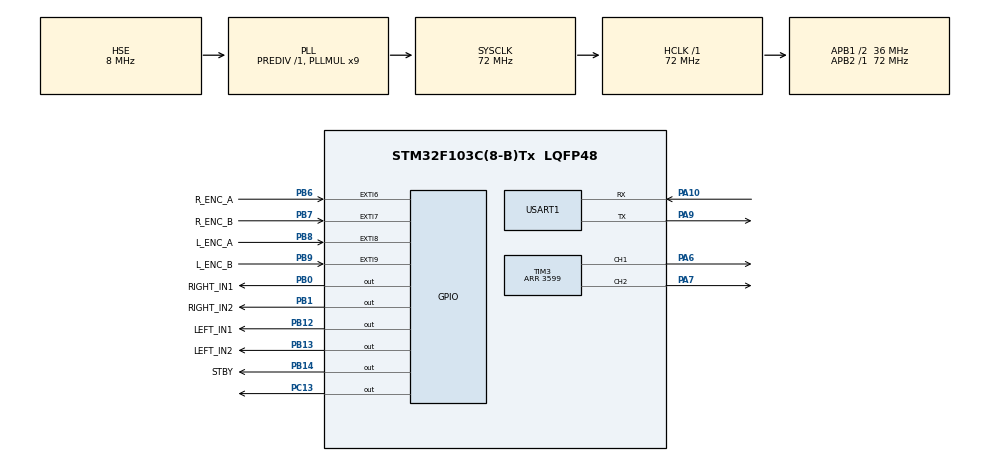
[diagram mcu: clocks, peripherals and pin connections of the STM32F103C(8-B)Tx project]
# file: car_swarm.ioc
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Mcu.Family=STM32F1
Mcu.Name=STM32F103C(8-B)Tx
Mcu.Package=LQFP48
NVIC.EXTI9_5_IRQn=true\:0\:0\:true\:false\:true\:true\:true\:true
NVIC.PriorityGroup=NVIC_PRIORITYGROUP_4
NVIC.TIM2_IRQn=true\:2\:0\:true\:false\:true\:true\:true\:true
NVIC.USART1_IRQn=true\:1\:0\:true\:false\:true\:true\:true\:true
PA10.Mode=Asynchronous
PA10.Signal=USART1_RX
PA13.Mode=Serial_Wire
PA13.Signal=SYS_JTMS-SWDIO
PA14.Mode=Serial_Wire
PA14.Signal=SYS_JTCK-SWCLK
PA6.Signal=S_TIM3_CH1
PA7.Signal=S_TIM3_CH2
PA9.Mode=Asynchronous
PA9.Signal=USART1_TX
PB0.GPIO_Label=RIGHT_IN1
PB0.Signal=GPIO_Output
PB1.GPIO_Label=RIGHT_IN2
PB1.Signal=GPIO_Output
PB12.GPIO_Label=LEFT_IN1
PB12.Signal=GPIO_Output
PB13.GPIO_Label=LEFT_IN2
PB13.Signal=GPIO_Output
PB14.GPIO_Label=STBY
PB14.Signal=GPIO_Output
PB6.GPIO_Label=R_ENC_A
PB6.GPIO_ModeDefaultEXTI=GPIO_MODE_IT_RISING_FALLING
PB6.GPIO_PuPd=GPIO_PULLUP
PB6.Signal=GPXTI6
PB7.GPIO_Label=R_ENC_B
PB7.GPIO_ModeDefaultEXTI=GPIO_MODE_IT_RISING_FALLING
PB7.GPIO_PuPd=GPIO_PULLUP
PB7.Signal=GPXTI7
PB8.GPIO_Label=L_ENC_A
PB8.GPIO_ModeDefaultEXTI=GPIO_MODE_IT_RISING_FALLING
PB8.GPIO_PuPd=GPIO_PULLUP
PB8.Signal=GPXTI8
PB9.GPIO_Label=L_ENC_B
PB9.GPIO_ModeDefaultEXTI=GPIO_MODE_IT_RISING_FALLING
PB9.GPIO_PuPd=GPIO_PULLUP
PB9.Signal=GPXTI9
PC13-TAMPER-RTC.Signal=GPIO_Output
PD0-OSC_IN.Mode=HSE-External-Oscillator
PD0-OSC_IN.Signal=RCC_OSC_IN
PD1-OSC_OUT.Mode=HSE-External-Oscillator
PD1-OSC_OUT.Signal=RCC_OSC_OUT
ProjectManager.HeapSize=0x200
ProjectManager.StackSize=0x400
ProjectManager.TargetToolchain=Makefile
RCC.AHBFreq_Value=72000000
RCC.APB1CLKDivider=RCC_HCLK_DIV2
RCC.APB1Freq_Value=36000000
RCC.APB1TimFreq_Value=72000000
RCC.APB2Freq_Value=72000000
RCC.APB2TimFreq_Value=72000000
RCC.HCLKFreq_Value=72000000
RCC.PLLMUL=RCC_PLL_MUL9
RCC.PLLSourceVirtual=RCC_PLLSOURCE_HSE
RCC.SYSCLKFreq_VALUE=72000000
RCC.SYSCLKSource=RCC_SYSCLKSOURCE_PLLCLK
RCC.USBFreq_Value=72000000
SH.S_TIM3_CH1.0=TIM3_CH1,PWM Generation1 CH1
SH.S_TIM3_CH2.0=TIM3_CH2,PWM Generation2 CH2
TIM2.AutoReloadPreload=TIM_AUTORELOAD_PRELOAD_ENABLE
TIM2.Period=99
TIM2.Prescaler=7199
TIM3.AutoReloadPreload=TIM_AUTORELOAD_PRELOAD_ENABLE
TIM3.Channel-PWM\ Generation1\ CH1=TIM_CHANNEL_1
TIM3.Channel-PWM\ Generation2\ CH2=TIM_CHANNEL_2
TIM3.Period=3599
USART1.VirtualMode=VM_ASYNC
VP_TIM2_VS_ClockSourceINT.Mode=Internal
VP_TIM3_VS_ClockSourceINT.Mode=Internal
board=custom

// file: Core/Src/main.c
/* USER CODE BEGIN Header */
/**
  ******************************************************************************
  * @file           : main.c
  * @brief          : Main program body
  ******************************************************************************
  * @attention
  *
  * Copyright (c) 2026 STMicroelectronics.
  * All rights reserved.
  *
  * This software is licensed under terms that can be found in the LICENSE file
  * in the root directory of this software component.
  * If no LICENSE file comes with this software, it is provided AS-IS.
  *
  ******************************************************************************
  */
/* USER CODE END Header */
#include "main.h"
#include "tim.h"
#include "usart.h"
#include "gpio.h"

/* USER CODE BEGIN PD */

#define PWM_MAX 1800            /* PWM上限提高至50%，TIM3周期仍为3599。 */
#define RPM_MAX 120             /* 最大目标转速，单位RPM。 */
#define L_REV 1
#define R_REV 1
#define L_ENC_SIGN 1            /* 手转车轮向前，enc[0]应增加；否则改为-1。 */
#define R_ENC_SIGN -1           /* 右轮前进时计数取正。 */
#ifndef ENC_CPR
#define ENC_CPR 1468.2f         /* 每圈A/B四倍频计数，已与手转复测核对。 */
#endif
#define KP 20.0f                /* P由10提高到20，增强前进和差速转向响应。 */
#define KP_TURN 120.0f           /* 两轮目标反向时提高P，增强原地转向起动能力。 */
#define TURN_FILTER 0.5f        /* 原地转向测速低通，减小单脉冲量化引起的抖动。 */
#define KD 0.02f

#if PWM_MAX < 1 || PWM_MAX > 3599 || RPM_MAX < 1 || RPM_MAX > 3276
#error "Invalid motor limits"
#endif
/* USER CODE END PD */

/* USER CODE BEGIN PV */

static volatile int16_t left, right; /* 目标值单位0.1 RPM，不是PWM。 */
static uint8_t rx, frame[8], n;
static uint8_t tx[17] = {0xAA, 0x66}; /* 时间、左计数、右计数、和校验、帧尾。 */
static uint32_t sent;
static volatile uint32_t err;
static volatile int32_t enc[2];       /* 累计四倍频计数，供闭环和串口反馈使用。 */
static volatile float measured[2];    /* 实测RPM，可在调试器查看。 */
static volatile int16_t pwm[2];
static uint8_t state[2];
static float old_rpm[2];             /* 上一次实测转速，仅用于D项。 */
static float turn_rpm[2];            /* 编码器实测转速的低通值，仅供原地转向使用。 */
/* USER CODE END PV */

void SystemClock_Config(void);
/* USER CODE BEGIN PFP */

static int16_t Limit(int16_t p);
static void Motor(GPIO_TypeDef *port, uint16_t a, uint16_t b, uint32_t ch, int16_t p);
static void Run(void);
static void Output(int16_t l, int16_t r);
static uint8_t Phase(uint8_t i);
static void Control(void);
/* USER CODE END PFP */

/* USER CODE BEGIN 0 */

/* HEX：AA 55 左高 左低 右高 右低 0D 0A，115200/8N1。
 * 两个有符号16位大端数，单位0.1 RPM；例如300表示30.0 RPM。
 * 每20ms回传17字节：AA 66 时间ms(4) 左计数(4) 右计数(4) 和校验 0D 0A。
 * 三个32位数均为大端，计数有符号；校验为前14字节之和的低8位。
 */
static int16_t Limit(int16_t p)
{
  if (p > RPM_MAX * 10) return RPM_MAX * 10;
  if (p < -RPM_MAX * 10) return -RPM_MAX * 10;
  return p;
}

/* 按实测接线：左轮A/B为PB8/PB9，右轮为PB6/PB7。 */
static uint8_t Phase(uint8_t i)
{
  uint32_t bits = GPIOB->IDR;
  uint16_t a = i ? R_ENC_A_Pin : L_ENC_A_Pin;
  uint16_t b = i ? R_ENC_B_Pin : L_ENC_B_Pin;
  return ((bits & a) ? 2 : 0) | ((bits & b) ? 1 : 0);
}

static void Motor(GPIO_TypeDef *port, uint16_t a, uint16_t b, uint32_t ch, int16_t p)
{
  HAL_GPIO_WritePin(port, a, p > 0 ? GPIO_PIN_SET : GPIO_PIN_RESET);
  HAL_GPIO_WritePin(port, b, p < 0 ? GPIO_PIN_SET : GPIO_PIN_RESET);
  __HAL_TIM_SET_COMPARE(&htim3, ch, p < 0 ? -p : p);
}

static void Output(int16_t l, int16_t r)
{
  Motor(RIGHT_IN1_GPIO_Port, RIGHT_IN1_Pin, RIGHT_IN2_Pin,
        TIM_CHANNEL_1, L_REV ? -l : l);
  Motor(LEFT_IN1_GPIO_Port, LEFT_IN1_Pin, LEFT_IN2_Pin,
        TIM_CHANNEL_2, R_REV ? -r : r);
}

/* TIM2固定100Hz调用。PD闭环留在下位机，上位机只给RPM目标。 */
static void Control(void)
{
  static int32_t previous[2];
  int32_t count[2];
  int16_t target[2];
  uint32_t key = __get_PRIMASK();
  __disable_irq();
  count[0] = enc[0]; count[1] = enc[1];
  target[0] = left; target[1] = right;
  __set_PRIMASK(key);

  /* 只识别两轮反向的原地转向；同向行驶继续使用普通P。 */
  uint8_t turn = (int32_t)target[0] * target[1] < 0;
  float kp = turn ? KP_TURN : KP;

  for (uint8_t i = 0; i < 2; i++)
  {
    int32_t delta = (int32_t)((uint32_t)count[i] - (uint32_t)previous[i]);
    previous[i] = count[i];
    if (ENC_CPR <= 0.0f)          /* 未标定时可手转计数，电机保持关闭。 */
    {
      measured[i] = old_rpm[i] = turn_rpm[i] = 0;
      pwm[i] = 0;
      continue;
    }
    measured[i] = delta * 6000.0f / ENC_CPR;
    float change = (measured[i] - old_rpm[i]) * 100.0f;
    old_rpm[i] = measured[i];
    float step = TURN_FILTER * (measured[i] - turn_rpm[i]);
    turn_rpm[i] += step;
    if (target[i] == 0)
    {
      pwm[i] = 0;
      continue;
    }
    float rpm = target[i] * 0.1f;
    /* D项对实测速度求导，避免目标变化时产生微分冲击；没有积分项。 */
    float speed = turn ? turn_rpm[i] : measured[i];
    float output = kp * (rpm - speed) - KD * (turn ? step * 100.0f : change);
    if (output > PWM_MAX) output = PWM_MAX;
    if (output < -PWM_MAX) output = -PWM_MAX;
    pwm[i] = (int16_t)output;
  }
  Output(pwm[0], pwm[1]);
}

/* 将32位数按大端顺序写入反馈包。 */
static void Put(uint8_t *p, uint32_t value)
{
  for (uint8_t i = 0; i < 4; i++) p[i] = value >> (24 - i * 8);
}

/* 只负责反馈；电机输出统一由TIM2更新，避免两个地方交替写PWM。 */
static void Run(void)
{
  uint32_t key = __get_PRIMASK();
  __disable_irq();
  uint32_t now = HAL_GetTick();
  uint8_t send = (uint32_t)(now - sent) >= 20 && huart1.gState == HAL_UART_STATE_READY;
  int32_t count[2] = {enc[0], enc[1]}; /* 与时间在同一临界区快照。 */
  __set_PRIMASK(key);

  if (!send) return;
  Put(tx + 2, now);
  Put(tx + 6, (uint32_t)count[0]);
  Put(tx + 10, (uint32_t)count[1]);
  tx[14] = 0;
  for (uint8_t i = 0; i < 14; i++) tx[14] += tx[i];
  tx[15] = 0x0D; tx[16] = 0x0A;
  if (HAL_UART_Transmit_IT(&huart1, tx, sizeof(tx)) == HAL_OK) sent = now;
}
/* USER CODE END 0 */

int main(void)
{

  /* MCU Configuration--------------------------------------------------------*/

  /* Reset of all peripherals, Initializes the Flash interface and the Systick. */
  HAL_Init();

  /* Configure the system clock */
  SystemClock_Config();

  /* Initialize all configured peripherals */
  MX_GPIO_Init();
  MX_USART1_UART_Init();
  MX_TIM2_Init();
  MX_TIM3_Init();
  /* USER CODE BEGIN 2 */

/* 两路PWM初值均为0，启动成功后再使能TB6612。 */
  if (HAL_TIM_PWM_Start(&htim3, TIM_CHANNEL_1) != HAL_OK ||
      HAL_TIM_PWM_Start(&htim3, TIM_CHANNEL_2) != HAL_OK)
    Error_Handler();
  HAL_GPIO_WritePin(STBY_GPIO_Port, STBY_Pin, GPIO_PIN_SET);

  __HAL_UART_CLEAR_OREFLAG(&huart1);
  HAL_UART_Receive_IT(&huart1, &rx, 1);
  state[0] = Phase(0); state[1] = Phase(1);
  if (HAL_TIM_Base_Start_IT(&htim2) != HAL_OK) Error_Handler();
/* USER CODE END 2 */

  /* Infinite loop */
  while (1)
  {

    /* USER CODE BEGIN 3 */

    if (huart1.RxState == HAL_UART_STATE_READY)
      HAL_UART_Receive_IT(&huart1, &rx, 1);
    Run();
  }
  /* USER CODE END 3 */
}

void SystemClock_Config(void)
{
  RCC_OscInitTypeDef RCC_OscInitStruct = {0};
  RCC_ClkInitTypeDef RCC_ClkInitStruct = {0};

  /** Initializes the RCC Oscillators according to the specified parameters
  * in the RCC_OscInitTypeDef structure.
  */
  RCC_OscInitStruct.OscillatorType = RCC_OSCILLATORTYPE_HSE;
  RCC_OscInitStruct.HSEState = RCC_HSE_ON;
  RCC_OscInitStruct.HSEPredivValue = RCC_HSE_PREDIV_DIV1;
  RCC_OscInitStruct.HSIState = RCC_HSI_ON;
  RCC_OscInitStruct.PLL.PLLState = RCC_PLL_ON;
  RCC_OscInitStruct.PLL.PLLSource = RCC_PLLSOURCE_HSE;
  RCC_OscInitStruct.PLL.PLLMUL = RCC_PLL_MUL9;
  if (HAL_RCC_OscConfig(&RCC_OscInitStruct) != HAL_OK)
  {
    Error_Handler();
  }

  /** Initializes the CPU, AHB and APB buses clocks
  */
  RCC_ClkInitStruct.ClockType = RCC_CLOCKTYPE_HCLK|RCC_CLOCKTYPE_SYSCLK
                              |RCC_CLOCKTYPE_PCLK1|RCC_CLOCKTYPE_PCLK2;
  RCC_ClkInitStruct.SYSCLKSource = RCC_SYSCLKSOURCE_PLLCLK;
  RCC_ClkInitStruct.AHBCLKDivider = RCC_SYSCLK_DIV1;
  RCC_ClkInitStruct.APB1CLKDivider = RCC_HCLK_DIV2;
  RCC_ClkInitStruct.APB2CLKDivider = RCC_HCLK_DIV1;

  if (HAL_RCC_ClockConfig(&RCC_ClkInitStruct, FLASH_LATENCY_2) != HAL_OK)
  {
    Error_Handler();
  }
}

/* USER CODE BEGIN 4 */

/* 每收到一个字节就检查最近8字节，支持拆包、连续包和错位后恢复。 */
void HAL_UART_RxCpltCallback(UART_HandleTypeDef *uart)
{
  if (uart != &huart1 || uart->ErrorCode != HAL_UART_ERROR_NONE)
    return;

  for (uint8_t i = 0; i < 7; i++)
    frame[i] = frame[i + 1];
  frame[7] = rx;
  if (n < 8)
    n++;

  if (n == 8 && frame[0] == 0xAA && frame[1] == 0x55 &&
      frame[6] == 0x0D && frame[7] == 0x0A)
  {
    left = Limit((int16_t)((uint16_t)frame[2] << 8 | frame[3]));
    right = Limit((int16_t)((uint16_t)frame[4] << 8 | frame[5]));
    n = 0;                      /* 完整帧已消费，避免重复解析重叠数据。 */
  }
  HAL_UART_Receive_IT(uart, &rx, 1);
}

/* 串口错误后丢弃残包并恢复接收，保留正在进行的发送。 */
void HAL_UART_ErrorCallback(UART_HandleTypeDef *uart)
{
  if (uart != &huart1)
    return;
  err++;
  n = 0;
  HAL_UART_AbortReceive(uart);
  __HAL_UART_CLEAR_OREFLAG(uart);
  HAL_UART_Receive_IT(uart, &rx, 1);
}
/* A/B四倍频状态表；非法的跨状态跳变不虚构计数。 */
void HAL_GPIO_EXTI_Callback(uint16_t pin)
{
  static const int8_t step[16] = {0,1,-1,0, -1,0,0,1, 1,0,0,-1, 0,-1,1,0};
  uint8_t i;
  if (pin & (L_ENC_A_Pin | L_ENC_B_Pin)) i = 0;
  else if (pin & (R_ENC_A_Pin | R_ENC_B_Pin)) i = 1;
  else return;
  uint8_t next = Phase(i);
  int32_t delta = step[state[i] * 4 + next] * (i ? R_ENC_SIGN : L_ENC_SIGN);
  enc[i] = (int32_t)((uint32_t)enc[i] + delta);
  state[i] = next;
}

void HAL_TIM_PeriodElapsedCallback(TIM_HandleTypeDef *timer)
{
  if (timer->Instance == TIM2) Control();
}
/* USER CODE END 4 */

void Error_Handler(void)
{
  __disable_irq();
  while (1)
  {
  }
}
